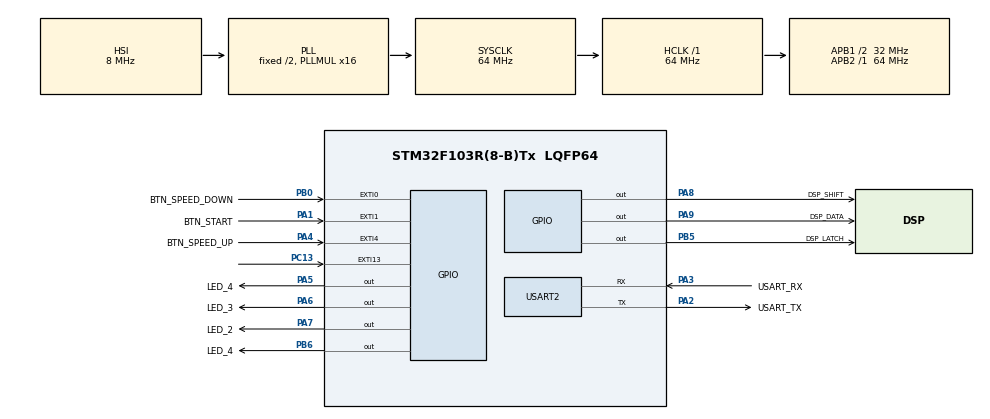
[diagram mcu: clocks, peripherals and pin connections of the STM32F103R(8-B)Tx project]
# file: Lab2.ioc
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Mcu.Family=STM32F1
Mcu.Name=STM32F103R(8-B)Tx
Mcu.Package=LQFP64
NVIC.EXTI0_IRQn=true\:0\:0\:false\:false\:true\:true\:true\:true
NVIC.EXTI15_10_IRQn=true\:0\:0\:false\:false\:true\:true\:true\:true
NVIC.EXTI1_IRQn=true\:0\:0\:false\:false\:true\:true\:true\:true
NVIC.EXTI4_IRQn=true\:0\:0\:false\:false\:true\:true\:true\:true
NVIC.PriorityGroup=NVIC_PRIORITYGROUP_4
NVIC.TIM1_UP_IRQn=true\:0\:0\:false\:false\:true\:true\:true\:true
PA1.GPIO_Label=BTN_START
PA1.GPIO_ModeDefaultEXTI=GPIO_MODE_IT_RISING
PA1.Signal=GPXTI1
PA13.GPIO_Label=TMS
PA13.Mode=Serial_Wire
PA13.Signal=SYS_JTMS-SWDIO
PA14.GPIO_Label=TCK
PA14.Mode=Serial_Wire
PA14.Signal=SYS_JTCK-SWCLK
PA2.GPIO_Label=USART_TX
PA2.GPIO_Mode=GPIO_MODE_AF_PP
PA2.GPIO_PuPd=GPIO_NOPULL
PA2.GPIO_Speed=GPIO_SPEED_FREQ_LOW
PA2.Mode=Asynchronous
PA2.Signal=USART2_TX
PA3.GPIO_Label=USART_RX
PA3.GPIO_Mode=GPIO_MODE_AF_PP
PA3.GPIO_PuPd=GPIO_NOPULL
PA3.GPIO_Speed=GPIO_SPEED_FREQ_LOW
PA3.Mode=Asynchronous
PA3.Signal=USART2_RX
PA4.GPIO_Label=BTN_SPEED_UP
PA4.GPIO_ModeDefaultEXTI=GPIO_MODE_IT_RISING
PA4.Signal=GPXTI4
PA5.GPIO_Label=LED_4
PA5.GPIO_ModeDefaultOutputPP=GPIO_MODE_OUTPUT_PP
PA5.GPIO_PuPd=GPIO_NOPULL
PA5.GPIO_Speed=GPIO_SPEED_FREQ_LOW
PA5.Signal=GPIO_Output
PA6.GPIO_Label=LED_3
PA6.Signal=GPIO_Output
PA7.GPIO_Label=LED_2
PA7.Signal=GPIO_Output
PA8.GPIO_Label=DSP_SHIFT
PA8.Signal=GPIO_Output
PA9.GPIO_Label=DSP_DATA
PA9.Signal=GPIO_Output
PB0.GPIO_Label=BTN_SPEED_DOWN
PB0.GPIO_ModeDefaultEXTI=GPIO_MODE_IT_RISING
PB0.Signal=GPXTI0
PB3.GPIO_Label=SWO
PB3.Signal=SYS_JTDO-TRACESWO
PB5.GPIO_Label=DSP_LATCH
PB5.Signal=GPIO_Output
PB6.GPIO_Label=LED_4
PB6.Signal=GPIO_Output
PC13-TAMPER-RTC.Signal=GPXTI13
PC14-OSC32_IN.Mode=LSE-External-Oscillator
PC14-OSC32_IN.Signal=RCC_OSC32_IN
PC15-OSC32_OUT.Mode=LSE-External-Oscillator
PC15-OSC32_OUT.Signal=RCC_OSC32_OUT
PD0-OSC_IN.Mode=HSE-External-Clock-Source
PD0-OSC_IN.Signal=RCC_OSC_IN
PD1-OSC_OUT.Mode=HSE-External-Clock-Source
PD1-OSC_OUT.Signal=RCC_OSC_OUT
ProjectManager.HeapSize=0x200
ProjectManager.StackSize=0x400
ProjectManager.TargetToolchain=MDK-ARM V5.32
RCC.AHBFreq_Value=64000000
RCC.APB1CLKDivider=RCC_HCLK_DIV2
RCC.APB1Freq_Value=32000000
RCC.APB1TimFreq_Value=64000000
RCC.APB2Freq_Value=64000000
RCC.APB2TimFreq_Value=64000000
RCC.HCLKFreq_Value=64000000
RCC.PLLMUL=RCC_PLL_MUL16
RCC.RTCClockSelection=RCC_RTCCLKSOURCE_LSE
RCC.SYSCLKFreq_VALUE=64000000
RCC.SYSCLKSource=RCC_SYSCLKSOURCE_PLLCLK
RCC.USBFreq_Value=64000000
TIM1.Period=20000
TIM1.Prescaler=719
USART2.VirtualMode=VM_ASYNC
VP_TIM1_VS_ClockSourceINT.Mode=Internal
board=NUCLEO-F103RB

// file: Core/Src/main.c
/* USER CODE BEGIN Header */
/**
  ******************************************************************************
  * @file           : main.c
  * @brief          : Main program body
  ******************************************************************************
  * @attention
  *
  * Copyright (c) 2022 STMicroelectronics.
  * All rights reserved.
  *
  * This software is licensed under terms that can be found in the LICENSE file
  * in the root directory of this software component.
  * If no LICENSE file comes with this software, it is provided AS-IS.
  *
  ******************************************************************************
  */
/* USER CODE END Header */
#include "main.h"

TIM_HandleTypeDef htim1;

UART_HandleTypeDef huart2;

/* USER CODE BEGIN PV */
int speedLevel = 1;
int levels[3] = { 0, 2, 6 };
int counter = 0;
int enable = 1;
int i = 0;
uint16_t pin_number[4] = { GPIO_PIN_5, GPIO_PIN_6, GPIO_PIN_7, GPIO_PIN_6 };
GPIO_TypeDef* port[4] = { GPIOA, GPIOA, GPIOA, GPIOB };

int digits[12] = { 0xC0, 0xF9, 0xA4, 0xB0, 0x98, 0x92, 0x82, 0xF8, 0x80, 0x90, 0x7F, 0xFF };
int positions[5] = { 0x00, 0x01, 0x02, 0x04, 0x08 };
/* USER CODE END PV */

void SystemClock_Config(void);
static void MX_GPIO_Init(void);
static void MX_USART2_UART_Init(void);
static void MX_TIM1_Init(void);
/* USER CODE BEGIN PFP */
void WriteDigit(int, int);
/* USER CODE END PFP */

/* USER CODE BEGIN 0 */
void WriteDigit(int position, int digit)
{
	int j = 0;
	while (j < 8)
	{
		if (((digit << j) & 0x80) != 0)
		{
			HAL_GPIO_WritePin(DSP_DATA_GPIO_Port, DSP_DATA_Pin, GPIO_PIN_SET);
		}
		else
		{
			HAL_GPIO_WritePin(DSP_DATA_GPIO_Port, DSP_DATA_Pin, GPIO_PIN_RESET);
		}
		HAL_GPIO_WritePin(DSP_SHIFT_GPIO_Port, DSP_SHIFT_Pin, GPIO_PIN_SET);
		HAL_GPIO_WritePin(DSP_SHIFT_GPIO_Port, DSP_SHIFT_Pin, GPIO_PIN_RESET);
		++j;
	}
	j = 0;
	while (j < 8)
	{
		if (((position << j) & 0x80) != 0)
		{
			HAL_GPIO_WritePin(DSP_DATA_GPIO_Port, DSP_DATA_Pin, GPIO_PIN_SET);
		}
		else
		{
			HAL_GPIO_WritePin(DSP_DATA_GPIO_Port, DSP_DATA_Pin, GPIO_PIN_RESET);
		}
		HAL_GPIO_WritePin(DSP_SHIFT_GPIO_Port, DSP_SHIFT_Pin, GPIO_PIN_SET);
		HAL_GPIO_WritePin(DSP_SHIFT_GPIO_Port, DSP_SHIFT_Pin, GPIO_PIN_RESET);
		++j;
	}
	HAL_GPIO_WritePin(DSP_LATCH_GPIO_Port, DSP_LATCH_Pin, GPIO_PIN_SET);
	HAL_GPIO_WritePin(DSP_LATCH_GPIO_Port, DSP_LATCH_Pin, GPIO_PIN_RESET);
}
/* USER CODE END 0 */

int main(void)
{

  /* MCU Configuration--------------------------------------------------------*/

  /* Reset of all peripherals, Initializes the Flash interface and the Systick. */
  HAL_Init();

  /* Configure the system clock */
  SystemClock_Config();

  /* Initialize all configured peripherals */
  MX_GPIO_Init();
  MX_USART2_UART_Init();
  MX_TIM1_Init();
  /* USER CODE BEGIN 2 */
	HAL_GPIO_WritePin(GPIOA, GPIO_PIN_5, GPIO_PIN_SET);
	HAL_GPIO_WritePin(GPIOA, GPIO_PIN_6, GPIO_PIN_SET);
	HAL_GPIO_WritePin(GPIOA, GPIO_PIN_7, GPIO_PIN_SET);
	HAL_GPIO_WritePin(GPIOB, GPIO_PIN_6, GPIO_PIN_SET);
	HAL_TIM_Base_Start_IT(&htim1);

	WriteDigit(positions[4], digits[speedLevel]);
	//WriteDigit(positions[1], digits[0]);
	//WriteDigit(positions[2], digits[1]);
	//WriteDigit(positions[3], digits[2]);
	//WriteDigit(positions[4], digits[3]);
  /* USER CODE END 2 */

  /* Infinite loop */
  while (1)
  {
  }
}

void SystemClock_Config(void)
{
  RCC_OscInitTypeDef RCC_OscInitStruct = {0};
  RCC_ClkInitTypeDef RCC_ClkInitStruct = {0};

  /** Initializes the RCC Oscillators according to the specified parameters
  * in the RCC_OscInitTypeDef structure.
  */
  RCC_OscInitStruct.OscillatorType = RCC_OSCILLATORTYPE_HSI;
  RCC_OscInitStruct.HSIState = RCC_HSI_ON;
  RCC_OscInitStruct.HSICalibrationValue = RCC_HSICALIBRATION_DEFAULT;
  RCC_OscInitStruct.PLL.PLLState = RCC_PLL_ON;
  RCC_OscInitStruct.PLL.PLLSource = RCC_PLLSOURCE_HSI_DIV2;
  RCC_OscInitStruct.PLL.PLLMUL = RCC_PLL_MUL16;
  if (HAL_RCC_OscConfig(&RCC_OscInitStruct) != HAL_OK)
  {
    Error_Handler();
  }

  /** Initializes the CPU, AHB and APB buses clocks
  */
  RCC_ClkInitStruct.ClockType = RCC_CLOCKTYPE_HCLK|RCC_CLOCKTYPE_SYSCLK
                              |RCC_CLOCKTYPE_PCLK1|RCC_CLOCKTYPE_PCLK2;
  RCC_ClkInitStruct.SYSCLKSource = RCC_SYSCLKSOURCE_PLLCLK;
  RCC_ClkInitStruct.AHBCLKDivider = RCC_SYSCLK_DIV1;
  RCC_ClkInitStruct.APB1CLKDivider = RCC_HCLK_DIV2;
  RCC_ClkInitStruct.APB2CLKDivider = RCC_HCLK_DIV1;

  if (HAL_RCC_ClockConfig(&RCC_ClkInitStruct, FLASH_LATENCY_2) != HAL_OK)
  {
    Error_Handler();
  }
}

static void MX_TIM1_Init(void)
{

  TIM_ClockConfigTypeDef sClockSourceConfig = {0};
  TIM_MasterConfigTypeDef sMasterConfig = {0};

  htim1.Instance = TIM1;
  htim1.Init.Prescaler = 719;
  htim1.Init.CounterMode = TIM_COUNTERMODE_UP;
  htim1.Init.Period = 20000;
  htim1.Init.ClockDivision = TIM_CLOCKDIVISION_DIV1;
  htim1.Init.RepetitionCounter = 0;
  htim1.Init.AutoReloadPreload = TIM_AUTORELOAD_PRELOAD_DISABLE;
  if (HAL_TIM_Base_Init(&htim1) != HAL_OK)
  {
    Error_Handler();
  }
  sClockSourceConfig.ClockSource = TIM_CLOCKSOURCE_INTERNAL;
  if (HAL_TIM_ConfigClockSource(&htim1, &sClockSourceConfig) != HAL_OK)
  {
    Error_Handler();
  }
  sMasterConfig.MasterOutputTrigger = TIM_TRGO_RESET;
  sMasterConfig.MasterSlaveMode = TIM_MASTERSLAVEMODE_DISABLE;
  if (HAL_TIMEx_MasterConfigSynchronization(&htim1, &sMasterConfig) != HAL_OK)
  {
    Error_Handler();
  }

}

static void MX_USART2_UART_Init(void)
{

  huart2.Instance = USART2;
  huart2.Init.BaudRate = 115200;
  huart2.Init.WordLength = UART_WORDLENGTH_8B;
  huart2.Init.StopBits = UART_STOPBITS_1;
  huart2.Init.Parity = UART_PARITY_NONE;
  huart2.Init.Mode = UART_MODE_TX_RX;
  huart2.Init.HwFlowCtl = UART_HWCONTROL_NONE;
  huart2.Init.OverSampling = UART_OVERSAMPLING_16;
  if (HAL_UART_Init(&huart2) != HAL_OK)
  {
    Error_Handler();
  }

}

static void MX_GPIO_Init(void)
{
  GPIO_InitTypeDef GPIO_InitStruct = {0};

  /* GPIO Ports Clock Enable */
  __HAL_RCC_GPIOC_CLK_ENABLE();
  __HAL_RCC_GPIOD_CLK_ENABLE();
  __HAL_RCC_GPIOA_CLK_ENABLE();
  __HAL_RCC_GPIOB_CLK_ENABLE();

  /*Configure GPIO pin Output Level */
  HAL_GPIO_WritePin(GPIOA, LED_4_Pin|LED_3_Pin|LED_2_Pin|DSP_SHIFT_Pin
                          |DSP_DATA_Pin, GPIO_PIN_RESET);

  /*Configure GPIO pin Output Level */
  HAL_GPIO_WritePin(GPIOB, DSP_LATCH_Pin|LED_4B6_Pin, GPIO_PIN_RESET);

  /*Configure GPIO pin : PC13 */
  GPIO_InitStruct.Pin = GPIO_PIN_13;
  GPIO_InitStruct.Mode = GPIO_MODE_IT_RISING;
  GPIO_InitStruct.Pull = GPIO_NOPULL;
  HAL_GPIO_Init(GPIOC, &GPIO_InitStruct);

  /*Configure GPIO pins : BTN_START_Pin BTN_SPEED_UP_Pin */
  GPIO_InitStruct.Pin = BTN_START_Pin|BTN_SPEED_UP_Pin;
  GPIO_InitStruct.Mode = GPIO_MODE_IT_RISING;
  GPIO_InitStruct.Pull = GPIO_NOPULL;
  HAL_GPIO_Init(GPIOA, &GPIO_InitStruct);

  /*Configure GPIO pins : LED_4_Pin LED_3_Pin LED_2_Pin DSP_SHIFT_Pin
                           DSP_DATA_Pin */
  GPIO_InitStruct.Pin = LED_4_Pin|LED_3_Pin|LED_2_Pin|DSP_SHIFT_Pin
                          |DSP_DATA_Pin;
  GPIO_InitStruct.Mode = GPIO_MODE_OUTPUT_PP;
  GPIO_InitStruct.Pull = GPIO_NOPULL;
  GPIO_InitStruct.Speed = GPIO_SPEED_FREQ_LOW;
  HAL_GPIO_Init(GPIOA, &GPIO_InitStruct);

  /*Configure GPIO pin : BTN_SPEED_DOWN_Pin */
  GPIO_InitStruct.Pin = BTN_SPEED_DOWN_Pin;
  GPIO_InitStruct.Mode = GPIO_MODE_IT_RISING;
  GPIO_InitStruct.Pull = GPIO_NOPULL;
  HAL_GPIO_Init(BTN_SPEED_DOWN_GPIO_Port, &GPIO_InitStruct);

  /*Configure GPIO pins : DSP_LATCH_Pin LED_4B6_Pin */
  GPIO_InitStruct.Pin = DSP_LATCH_Pin|LED_4B6_Pin;
  GPIO_InitStruct.Mode = GPIO_MODE_OUTPUT_PP;
  GPIO_InitStruct.Pull = GPIO_NOPULL;
  GPIO_InitStruct.Speed = GPIO_SPEED_FREQ_LOW;
  HAL_GPIO_Init(GPIOB, &GPIO_InitStruct);

  /* EXTI interrupt init*/
  HAL_NVIC_SetPriority(EXTI0_IRQn, 0, 0);
  HAL_NVIC_EnableIRQ(EXTI0_IRQn);

  HAL_NVIC_SetPriority(EXTI1_IRQn, 0, 0);
  HAL_NVIC_EnableIRQ(EXTI1_IRQn);

  HAL_NVIC_SetPriority(EXTI4_IRQn, 0, 0);
  HAL_NVIC_EnableIRQ(EXTI4_IRQn);

  HAL_NVIC_SetPriority(EXTI15_10_IRQn, 0, 0);
  HAL_NVIC_EnableIRQ(EXTI15_10_IRQn);

}

/* USER CODE BEGIN 4 */
void HAL_GPIO_EXTI_Callback(uint16_t GPIO_Pin)
{
	if (GPIO_Pin == BTN_START_Pin)
	{
		if (enable == 1)
		{
			htim1.Instance->CR1 &= ~TIM_CR1_CEN;
			enable = 0;
		}
		else
		{
			htim1.Instance->CR1 |= TIM_CR1_CEN;
			enable = 1;
		}
		WriteDigit(positions[4], digits[speedLevel]);
	}
	if (GPIO_Pin == BTN_SPEED_UP_Pin)
	{
		if (speedLevel != 1)
		{
			--speedLevel;
		}
		else
		{
		}
		WriteDigit(positions[4], digits[speedLevel]);
	}
	if (GPIO_Pin == BTN_SPEED_DOWN_Pin)
	{
		if (speedLevel != 3)
		{
			++speedLevel;
		}
		else
		{
		}
		WriteDigit(positions[4], digits[speedLevel]);
	}
}

void HAL_TIM_PeriodElapsedCallback(TIM_HandleTypeDef *htim)
{
	if(htim->Instance == TIM1)
  {
		if (counter >= levels[speedLevel - 1])
		{
			HAL_GPIO_WritePin(port[i], pin_number[i], GPIO_PIN_RESET);
			if (i == 1)
			{
				HAL_GPIO_WritePin(port[3], pin_number[3], GPIO_PIN_SET);
			}
			else if (i == 0)
			{
				HAL_GPIO_WritePin(port[2], pin_number[2], GPIO_PIN_SET);
			}
			else
			{
				HAL_GPIO_WritePin(port[i - 2], pin_number[i - 2], GPIO_PIN_SET);
			}
			i = i + 1;
			if (i == 4)
			{
				i = 0;
			}
			counter = 0;
		}
		else
		{
			++counter;
		}
  }
}

/* USER CODE END 4 */

void Error_Handler(void)
{
  __disable_irq();
  while (1)
  {
  }
}
